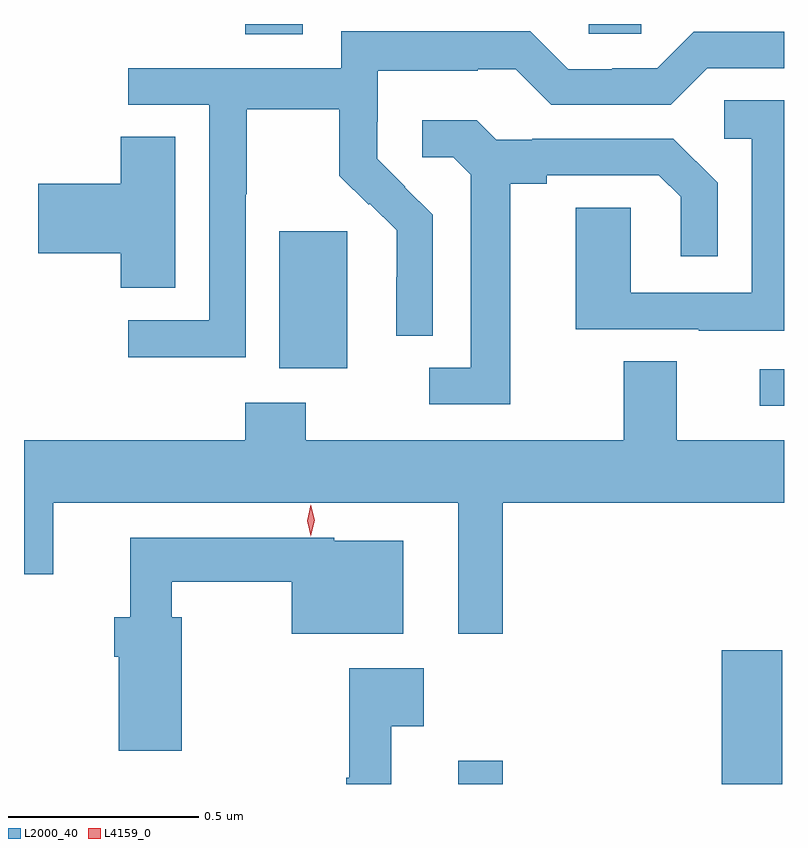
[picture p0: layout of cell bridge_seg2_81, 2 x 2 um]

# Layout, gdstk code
import gdstk
lib = gdstk.Library(unit=1e-6, precision=1e-09)
def R(c, l, rs):  # rectangles x0, y0, x1, y1
    for r in rs: c.add(gdstk.rectangle(r[:2], r[2:], *l))
def P(c, l, *ps):  # polygons
    for p in ps: c.add(gdstk.Polygon(p, *l))
L2000_40 = (2000, 40)
L4159_0 = (4159, 0)

bridge_seg2_81 = lib.new_cell('bridge_seg2_81')
R(bridge_seg2_81, L2000_40, [(142.262,653.556,142.379,653.617), (142.955,653.556,143.115,653.908), (143.055,654.552,143.119,654.648), (141.791,654.65,141.97,655.011), (141.701,655.529,141.853,655.556), (142.605,655.53,142.743,655.556)])
P(bridge_seg2_81, L2000_40, [(141.702,655.108),(141.705,655.108),(141.705,655.332),(141.949,655.332),(141.949,655.157),(142.026,655.08),(142.029,655.083),(142.1,655.013),(142.1,654.89),(142.098,654.89),(142.098,654.736),(142.194,654.736),(142.194,655.054),(142.121,655.127),(142.122,655.128),(142.048,655.202),(142.048,655.299),(142.05,655.299),(142.05,655.433),(142.313,655.433),(142.313,655.437),(142.413,655.437),(142.506,655.344),(142.821,655.344),(142.917,655.44),(143.119,655.44),(143.119,655.536),(142.881,655.536),(142.785,655.44),(142.667,655.44),(142.667,655.437),(142.551,655.437),(142.451,655.537),(141.954,655.537),(141.954,655.44),(141.393,655.44),(141.393,655.344),(141.606,655.344),(141.606,654.777),(141.393,654.777),(141.393,654.679),(141.702,654.679)],
  [(143.119,655.355),(142.962,655.355),(142.962,655.254),(143.034,655.254),(143.034,654.849),(142.716,654.849),(142.716,655.073),(142.571,655.073),(142.571,654.753),(142.895,654.753),(142.895,654.749),(143.119,654.749)],
  [(142.399,655.136),(142.495,655.136),(142.495,655.158),(142.79,655.158),(142.847,655.101),(142.847,654.945),(142.944,654.945),(142.944,655.138),(142.828,655.254),(142.456,655.254),(142.456,655.251),(142.362,655.251),(142.31,655.303),(142.167,655.303),(142.167,655.206),(142.248,655.206),(142.295,655.159),(142.295,654.651),(142.185,654.651),(142.185,654.555),(142.399,654.555)],
  [(141.517,655.259),(141.374,655.259),(141.374,655.136),(141.156,655.136),(141.156,654.953),(141.374,654.953),(141.374,654.862),(141.517,654.862)],
  [(141.861,654.559),(141.701,654.559),(141.701,654.46),(141.119,654.46),(141.119,654.108),(141.196,654.108),(141.196,654.296),(142.262,654.296),(142.262,653.952),(142.379,653.952),(142.379,654.296),(143.119,654.296),(143.119,654.46),(142.837,654.46),(142.837,654.668),(142.697,654.668),(142.697,654.46),(141.861,654.46)],
  [(141.534,653.995),(141.508,653.995),(141.508,654.088),(141.824,654.088),(141.824,653.951),(142.117,653.951),(142.117,654.196),(141.936,654.196),(141.936,654.204),(141.398,654.204),(141.398,653.995),(141.356,653.995),(141.356,653.891),(141.368,653.891),(141.368,653.643),(141.534,653.643)],
  [(142.085,653.708),(142.171,653.708),(142.171,653.86),(141.975,653.86),(141.975,653.572),(141.967,653.572),(141.967,653.556),(142.085,653.556)])
P(bridge_seg2_81, L4159_0, [(141.874,654.208),(141.874,654.209),(141.864,654.249),(141.873,654.291),(141.873,654.291),(141.873,654.291),(141.884,654.25),(141.874,654.209)])

lib.write_gds('bridge_seg2_81.gds')
